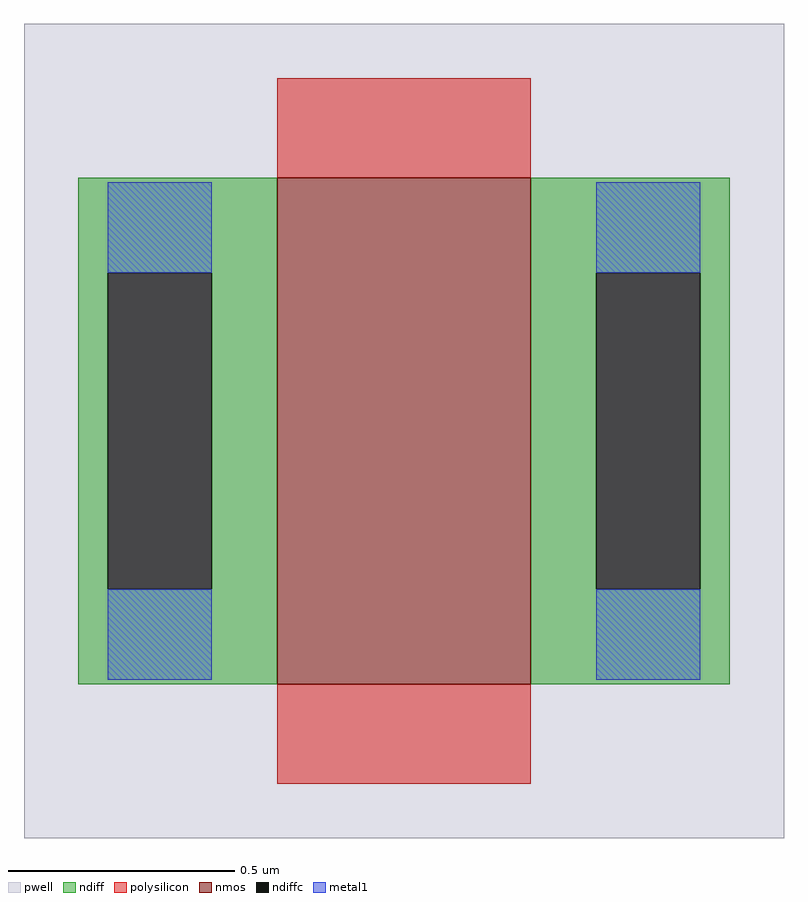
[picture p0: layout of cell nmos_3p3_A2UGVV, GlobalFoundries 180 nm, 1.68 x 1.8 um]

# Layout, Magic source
magic
tech gf180mcuD
magscale 1 10
<< pwell >>
rect -168 -180 168 180
<< nmos >>
rect -56 -112 56 112
<< ndiff >>
rect -144 70 -56 112
rect -144 -70 -131 70
rect -85 -70 -56 70
rect -144 -112 -56 -70
rect 56 70 144 112
rect 56 -70 85 70
rect 131 -70 144 70
rect 56 -112 144 -70
<< ndiffc >>
rect -131 -70 -85 70
rect 85 -70 131 70
<< polysilicon >>
rect -56 112 56 156
rect -56 -156 56 -112
<< metal1 >>
rect -131 70 -85 110
rect -131 -110 -85 -70
rect 85 70 131 110
rect 85 -110 131 -70
<< end >>
